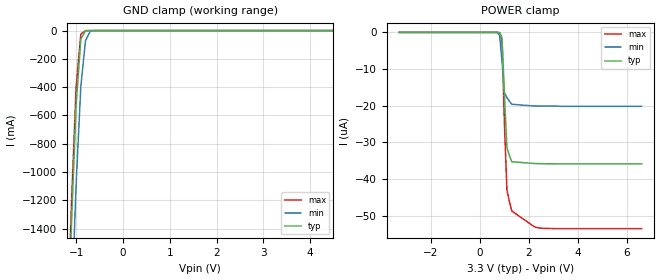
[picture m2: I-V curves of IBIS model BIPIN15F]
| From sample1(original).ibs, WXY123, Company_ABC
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|   Model BIPIN15F
[Model]   BIPIN15F
Model_type   Input
Polarity   Non-Inverting
Vinl = 0.8V
Vinh = 2.0V
C_comp   2.2pF   NA   NA
[Temperature Range]   25   125   0
[Voltage Range]   3.3V   3.0V   3.6V
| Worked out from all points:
|   GND clamp passes 1 mA (typ) near -0.76 V on its own axis
[GND_clamp]
| voltage   I(typ)   I(min)   I(max)
-3.3V     -25.3A     -25.75A    -25.21A
-1.2V     -2.336A    -2.94A     -2.195A
-1.1V     -1.367A    -1.972A    -1.224A
-1V       -523.6mA   -1.086A    -398.6mA
-900mV    -59.83mA   -395.6mA   -25.12mA
-800mV    -1.625mA   -70.49mA   -408.4uA
-700mV    -33.76uA   -5.454mA   -5.887uA
-600mV    -708.4nA   -312uA     -111.3nA
6.6V      0A         0A         0A
[POWER_clamp]
| voltage   I(typ)   I(min)   I(max)
-3.3V     318pA      727.8pA    318.7pA
600mV     -40.61pA   -1.957nA   -53.77pA
700mV     -854.7pA   -41.28nA   -1.541nA
800mV     -47.09nA   -755.6nA   -72.72nA
900mV     -1.48uA    -7.875uA   -2.075uA
1V        -17.39uA   -16.5uA    -25.21uA
1.1V      -31.46uA   -17.78uA   -42.95uA
1.2V      -33.56uA   -18.76uA   -46.07uA
1.3V      -35.25uA   -19.59uA   -48.69uA
2.2V      -35.74uA   -20.05uA   -52.89uA
2.4V      -35.77uA   -20.07uA   -53.31uA
6.6V      -35.84uA   -20.15uA   -53.5uA
